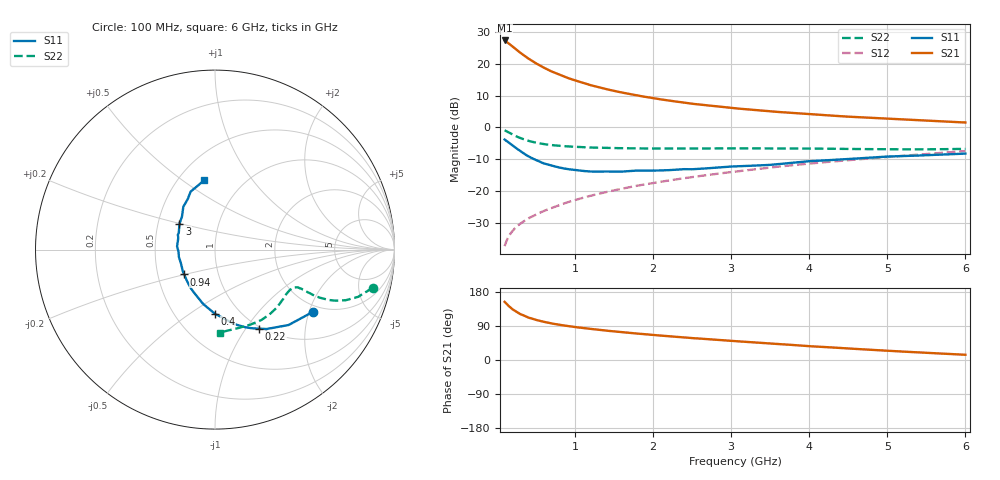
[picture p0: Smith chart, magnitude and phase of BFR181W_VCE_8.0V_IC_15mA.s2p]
! Infineon Technologies  Discrete & RF Semiconductors
! BFR181W
! VCE =  8.0 V,  IC =  15 mA
! Common Emitter S-Parameters:  Nov 2015
# GHz  S  MA  R  50
!  f  S11  S21  S12  S22
! GHz  MAG  ANG  MAG  ANG  MAG  ANG  MAG  ANG
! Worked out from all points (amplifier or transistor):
!   192 points, 100 MHz to 6 GHz, reference 50 ohm
!   highest |S21| = 27.2 dB at 100 MHz (marker M1)
!   |S21| within 3 dB of that: start of sweep to 258.1 MHz
!   unconditionally stable (mu >= 1): 970.9 MHz to 2.913 GHz
!   at 440 MHz: K = 0.77, MSG = 24.5 dB, |S12| = -28.0 dB
!   at 1.7 GHz: K = 1.05, MAG = 13.2 dB, |S12| = -18.7 dB
!   at 6 GHz: K = 0.80, MSG = 4.5 dB, |S12| = -7.4 dB
!   S11 on the Smith chart (normalised r, x): 100 MHz: 1.79, -2.14; 220 MHz: 0.98, -1.16; 400 MHz: 0.77, -0.63; 940 MHz: 0.68, -0.20; 3 GHz: 0.65, +0.20; 6 GHz: 0.66, +0.60
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0.1  0.6481 -32.2  23.01 153.6  0.0139 75.1  0.9038 -13.6
0.15  0.587 -45.7  20.82 142.8  0.0197 71.2  0.8408 -18.2
0.2  0.527 -57.1  18.59 134.0  0.0239 68.1  0.7801 -21.2
0.22  0.5043 -60.8  17.76 131.4  0.0255 67.3  0.7582 -21.9
0.26  0.4648 -68.6  16.22 125.9  0.0286 66.1  0.7172 -23.3
0.3  0.429 -75.4  14.81 121.2  0.0312 65.3  0.6834 -24.1
0.4  0.3563 -90.3  12.09 112.2  0.0375 65.4  0.619 -24.9
0.5  0.3103 -102.2  10.12 105.8  0.0433 66.0  0.5777 -24.7
0.6  0.2752 -112.7  8.668 100.8  0.0493 67.0  0.5495 -24.6
0.72  0.2504 -123.5  7.373 95.8  0.0561 67.9  0.5278 -24.4
0.8  0.2363 -130.7  6.702 92.9  0.0608 68.6  0.5167 -24.5
0.94  0.2207 -141.1  5.779 88.7  0.0696 69.5  0.5036 -24.7
1.1  0.2095 -151.6  5.024 84.7  0.0793 70.1  0.4925 -25.3
1.2  0.2047 -157.8  4.597 82.0  0.0855 70.4  0.4861 -25.7
1.5  0.2036 -172.5  3.739 75.4  0.1037 70.8  0.4758 -27.6
2.08  0.2126 165.9  2.778 64.8  0.1402 70.4  0.4684 -32.7
2.5  0.222 155.4  2.353 57.8  0.1672 69.8  0.4689 -36.8
3  0.2449 144.0  2.021 50.3  0.2007 68.3  0.4721 -42.9
3.1  0.2475 142.1  1.972 49.1  0.2078 67.8  0.4715 -44.3
4.1  0.3011 124.7  1.59 35.4  0.2794 63.4  0.4675 -58.4
5.1  0.3537 111.2  1.357 23.3  0.3526 58.1  0.4559 -73.4
6  0.3902 99.3  1.198 13.8  0.428 53.0  0.4631 -86.6
